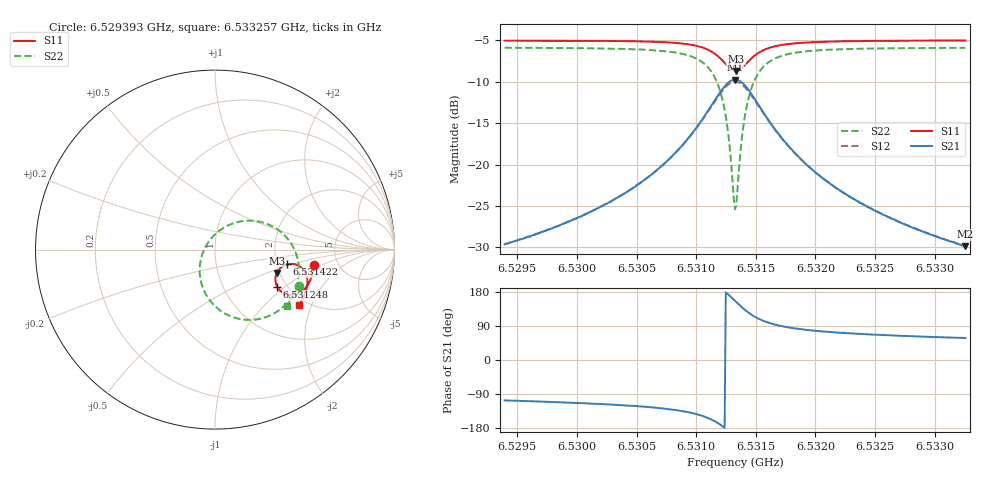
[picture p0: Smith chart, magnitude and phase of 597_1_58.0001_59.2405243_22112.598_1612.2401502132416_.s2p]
#  HZ  S  RI  R  50.00
! Rohde & Schwarz Vector Network Analyzer
! Rohde-Schwarz,ZNB20-2Port,1311601062101988,3.16
! Created: UTC 3/21/2024, 1:17:03 AM
! freq[Hz]  re:S11  im:S11  re:S21  im:S21  re:S12  im:S12  re:S22  im:S22
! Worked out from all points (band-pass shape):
!   401 points, 6.529393 GHz to 6.533257 GHz, reference 50 ohm
!   highest |S21| = -9.72 dB at 6.531325 GHz (marker M1); lowest = -29.8 dB at 6.533257 GHz (marker M2)
!   |S21| within 3 dB of the highest: 6.531134 GHz to 6.53152 GHz (386 kHz wide, 0.00591 % of centre)
!   lowest |S11| = -8.7 dB at 6.531335 GHz (marker M3), VSWR 2.16, Z = 96.6 - j29.2 ohm
!   |S11| at or under -10 dB: nowhere
!   |S22| runs from -25.4 to -5.9 dB; largest |S21 - S12| = 0.013
!   S11 on the Smith chart (normalised r, x): 6.529393 GHz: 3.32, -0.84; 6.531248 GHz: 1.78, -0.89; 6.531422 GHz: 2.28, -0.45; 6.533257 GHz: 1.83, -1.64
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6.5293935e9  0.5539 -0.0865  -0.00931 -0.0316  -0.0101 -0.0315  0.4657 -0.2029
6.5300407e9  0.5413 -0.1409  -0.0197 -0.0448  -0.021 -0.0444  0.4308 -0.263
6.5304078e9  0.5282 -0.1756  -0.0336 -0.0587  -0.0352 -0.0579  0.3947 -0.3062
6.5306879e9  0.5103 -0.2068  -0.0567 -0.0761  -0.0591 -0.0744  0.3423 -0.3478
6.5309101e9  0.4812 -0.2357  -0.0994 -0.095  -0.1025 -0.0914  0.2565 -0.3841
6.531084e9  0.4305 -0.2535  -0.178 -0.0982  -0.18 -0.0906  0.1136 -0.3807
6.5311806e9  0.3819 -0.2426  -0.2527 -0.0625  -0.2503 -0.0518  -0.00847 -0.3065
6.5312482e9  0.3472 -0.2078  -0.302 0.00792  -0.2941 0.0179  -0.0778 -0.1795
6.5312772e9  0.3383 -0.1841  -0.3118 0.0516  -0.3012 0.0598  -0.0855 -0.1059
6.5313158e9  0.3381 -0.1482  -0.3046 0.1157  -0.2923 0.1198  -0.0617 -0.00265
6.5313255e9  0.3407 -0.1391  -0.2989 0.1313  -0.2865 0.1343  -0.0494 0.0214
6.5313351e9  0.3439 -0.1305  -0.2915 0.1462  -0.2793 0.1482  -0.0348 0.0445
6.5313448e9  0.3482 -0.1222  -0.2828 0.1604  -0.2707 0.1613  -0.0181 0.0659
6.5313834e9  0.372 -0.0958  -0.2372 0.2051  -0.2272 0.2026  0.0643 0.1306
6.5314221e9  0.4015 -0.0819  -0.1843 0.2281  -0.1771 0.2239  0.1553 0.1592
6.5314897e9  0.4478 -0.0825  -0.1039 0.2274  -0.1005 0.2235  0.2892 0.1434
6.5315863e9  0.4875 -0.1066  -0.0359 0.1917  -0.0342 0.1898  0.3982 0.068
6.5317312e9  0.51 -0.1446  0.004 0.1405  0.00515 0.14  0.4556 -0.0343
6.5319727e9  0.5149 -0.189  0.0198 0.0913  0.0208 0.0908  0.4675 -0.1361
6.5323011e9  0.5071 -0.2291  0.0215 0.0594  0.0225 0.0591  0.4535 -0.2094
6.5326199e9  0.4961 -0.2588  0.0201 0.0435  0.021 0.0432  0.4357 -0.2532
6.5332574e9  0.4707 -0.3073  0.017 0.0273  0.0177 0.027  0.4004 -0.3115
